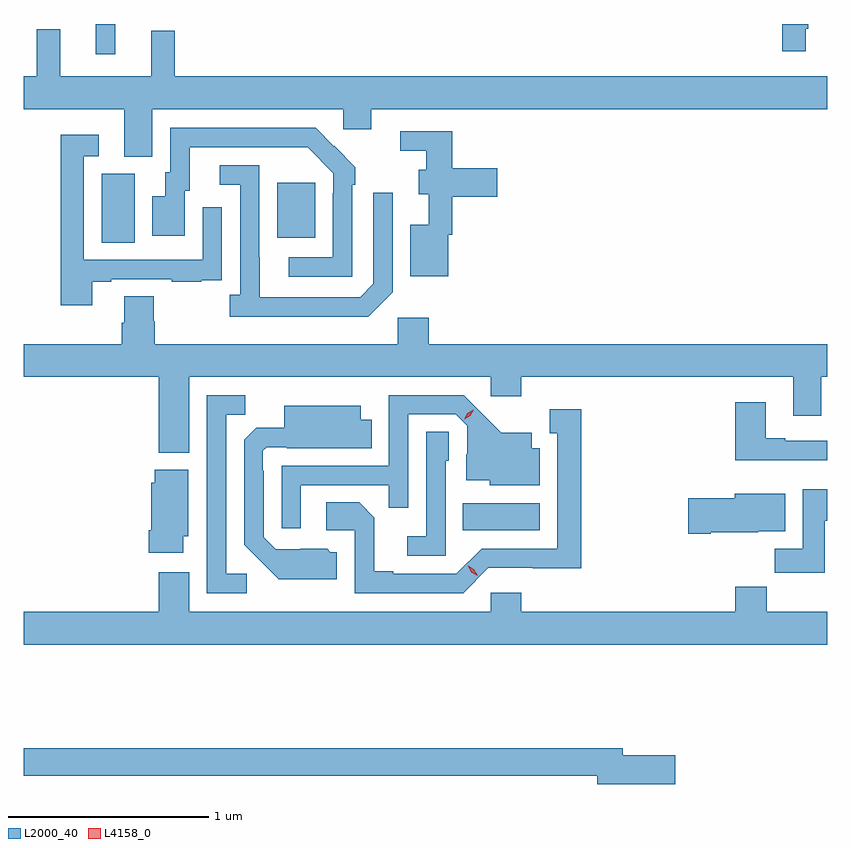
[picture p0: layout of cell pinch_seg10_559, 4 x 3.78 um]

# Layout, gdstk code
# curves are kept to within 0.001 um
import gdstk
lib = gdstk.Library(unit=1e-6, precision=1e-09)
def R(c, l, rs):  # rectangles x0, y0, x1, y1
    for r in rs: c.add(gdstk.rectangle(r[:2], r[2:], *l))
def P(c, l, *ps):  # polygons
    for p in ps: c.add(gdstk.Polygon(p, *l))
L2000_40 = (2000, 40)
L4158_0 = (4158, 0)

pinch_seg10_559 = lib.new_cell('pinch_seg10_559')
R(pinch_seg10_559, L2000_40, [(378.904,1283.57,379.288,1283.704), (377.108,1285,377.272,1285.344), (377.981,1285.025,378.169,1285.3), (377.078,1285.938,377.175,1286.089)])
P(pinch_seg10_559, L2000_40, [(380.612,1286.065),(380.623,1286.065),(380.623,1286.089),(380.494,1286.089),(380.494,1285.953),(380.612,1285.953)],
  [(377.359,1285.664),(378.309,1285.664),(378.309,1285.566),(378.448,1285.566),(378.448,1285.664),(380.719,1285.664),(380.719,1285.828),(377.471,1285.828),(377.471,1286.056),(377.354,1286.056),(377.354,1285.828),(376.901,1285.828),(376.901,1286.062),(376.783,1286.062),(376.783,1285.828),(376.719,1285.828),(376.719,1285.664),(377.219,1285.664),(377.219,1285.429),(377.359,1285.429)],
  [(378.354,1285.289),(378.369,1285.289),(378.369,1285.377),(378.172,1285.572),(377.448,1285.572),(377.448,1285.35),(377.423,1285.35),(377.423,1285.231),(377.36,1285.231),(377.36,1285.035),(377.521,1285.035),(377.521,1285.26),(377.545,1285.26),(377.545,1285.476),(378.133,1285.476),(378.261,1285.347),(378.261,1285.247),(378.258,1285.247),(378.258,1284.927),(378.039,1284.927),(378.039,1284.831),(378.354,1284.831)],
  [(378.832,1285.041),(378.851,1285.041),(378.851,1285.229),(379.075,1285.229),(379.075,1285.371),(378.851,1285.371),(378.851,1285.554),(378.594,1285.554),(378.594,1285.458),(378.723,1285.458),(378.723,1285.363),(378.686,1285.363),(378.686,1285.241),(378.734,1285.241),(378.734,1285.09),(378.644,1285.09),(378.644,1284.833),(378.832,1284.833)],
  [(377.059,1284.807),(377.155,1284.807),(377.155,1284.819),(377.455,1284.819),(377.455,1284.807),(377.603,1284.807),(377.603,1284.813),(377.705,1284.813),(377.705,1284.922),(377.706,1284.922),(377.706,1285.177),(377.61,1285.177),(377.61,1284.915),(377.019,1284.915),(377.019,1285.431),(377.092,1285.431),(377.092,1285.537),(376.903,1285.537),(376.903,1284.69),(377.059,1284.69)],
  [(378.555,1284.753),(378.555,1285.249),(378.459,1285.249),(378.459,1284.795),(378.393,1284.729),(377.893,1284.729),(377.892,1285.386),(377.694,1285.386),(377.694,1285.29),(377.796,1285.29),(377.796,1284.742),(377.745,1284.742),(377.745,1284.632),(378.434,1284.632)],
  [(377.542,1284.332),(379.044,1284.332),(379.044,1284.237),(379.196,1284.237),(379.196,1284.332),(380.549,1284.332),(380.549,1284.138),(380.689,1284.138),(380.689,1284.332),(380.719,1284.332),(380.719,1284.496),(378.734,1284.496),(378.734,1284.628),(378.582,1284.628),(378.582,1284.496),(377.372,1284.496),(377.372,1284.609),(377.367,1284.609),(377.367,1284.734),(377.219,1284.734),(377.219,1284.602),(377.207,1284.602),(377.207,1284.496),(376.719,1284.496),(376.719,1284.332),(377.39,1284.332),(377.39,1283.954),(377.542,1283.954)],
  [(378.099,1283.793),(378.535,1283.793),(378.535,1283.68),(378.633,1283.68),(378.633,1284.147),(378.87,1284.147),(378.927,1284.09),(378.927,1283.948),(378.923,1283.948),(378.923,1283.819),(379.038,1283.819),(379.038,1283.792),(379.288,1283.792),(379.288,1283.976),(379.249,1283.976),(379.249,1284.055),(379.097,1284.055),(378.91,1284.24),(378.537,1284.24),(378.537,1283.889),(378.003,1283.889),(378.003,1283.58),(378.099,1283.58)],
  [(377.83,1283.352),(377.727,1283.352),(377.727,1284.145),(377.823,1284.145),(377.823,1284.24),(377.631,1284.24),(377.631,1283.256),(377.83,1283.256)],
  [(380.719,1284.015),(380.509,1284.015),(380.509,1284.028),(380.413,1284.028),(380.413,1284.205),(380.261,1284.205),(380.261,1283.918),(380.719,1283.918)],
  [(378.277,1283.46),(378.246,1283.46),(378.23,1283.476),(377.973,1283.475),(377.913,1283.535),(377.913,1283.864),(377.91,1283.864),(377.91,1283.964),(377.928,1283.982),(378.028,1283.982),(378.028,1283.978),(378.452,1283.978),(378.452,1284.118),(378.397,1284.118),(378.397,1284.19),(378.017,1284.19),(378.017,1284.079),(377.876,1284.079),(377.817,1284.02),(377.817,1283.498),(377.989,1283.324),(378.277,1283.324)],
  [(379.032,1283.382),(379.495,1283.381),(379.495,1284.172),(379.337,1284.172),(379.337,1284.051),(379.376,1284.051),(379.376,1283.478),(378.999,1283.478),(378.873,1283.352),(378.559,1283.352),(378.559,1283.365),(378.465,1283.365),(378.465,1283.632),(378.389,1283.708),(378.225,1283.708),(378.225,1283.568),(378.366,1283.568),(378.366,1283.256),(378.906,1283.256)],
  [(378.819,1283.916),(378.834,1283.916),(378.834,1284.059),(378.723,1284.059),(378.723,1283.539),(378.627,1283.539),(378.627,1283.442),(378.819,1283.442)],
  [(377.512,1283.538),(377.539,1283.538),(377.539,1283.869),(377.372,1283.869),(377.372,1283.805),(377.354,1283.805),(377.354,1283.569),(377.342,1283.569),(377.342,1283.457),(377.512,1283.457)],
  [(380.707,1283.617),(380.719,1283.617),(380.719,1283.773),(380.597,1283.773),(380.597,1283.476),(380.458,1283.476),(380.458,1283.358),(380.707,1283.358)],
  [(380.14,1283.558),(380.376,1283.558),(380.376,1283.564),(380.509,1283.564),(380.509,1283.752),(380.258,1283.752),(380.258,1283.729),(380.028,1283.729),(380.028,1283.551),(380.14,1283.551)],
  [(380.719,1283.164),(380.417,1283.164),(380.417,1283.288),(380.261,1283.288),(380.261,1283.164),(379.196,1283.164),(379.196,1283.257),(379.044,1283.257),(379.044,1283.164),(377.542,1283.164),(377.542,1283.359),(377.39,1283.359),(377.39,1283.164),(376.719,1283.164),(376.719,1283),(380.719,1283)],
  [(379.963,1282.448),(379.702,1282.448),(379.702,1282.484),(376.719,1282.484),(376.719,1282.348),(379.574,1282.348),(379.574,1282.306),(379.963,1282.306)])
P(pinch_seg10_559, L4158_0, [(378.978,1283.342),(378.946,1283.361),(378.929,1283.394),(378.929,1283.394),(378.929,1283.394),(378.96,1283.375),(378.978,1283.342),(378.978,1283.342)],
  [(378.912,1284.122),(378.912,1284.122),(378.928,1284.152),(378.959,1284.168),(378.959,1284.168),(378.959,1284.168),(378.942,1284.138),(378.912,1284.122)])

lib.write_gds('pinch_seg10_559.gds')
